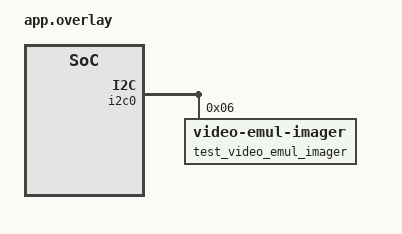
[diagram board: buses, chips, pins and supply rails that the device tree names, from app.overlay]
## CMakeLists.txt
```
# SPDX-License-Identifier: Apache-2.0

cmake_minimum_required(VERSION 3.20.0)
find_package(Zephyr REQUIRED HINTS $ENV{ZEPHYR_BASE})
project(integration)

target_sources(app PRIVATE src/video_common.c)
```

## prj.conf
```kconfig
CONFIG_ZTEST=y
CONFIG_ASSERT=y
CONFIG_VIDEO=y

# Just enough for a single frame in RGB565 format: 320 * 420 * 2 + some margin
CONFIG_VIDEO_BUFFER_POOL_HEAP_SIZE=300000
CONFIG_VIDEO_BUFFER_POOL_NUM_MAX=1

# Required to support larger buffers on native_sim
CONFIG_SYS_HEAP_BIG_ONLY=y

CONFIG_VIDEO_LOG_LEVEL_DBG=y
CONFIG_EMUL=y
CONFIG_I2C=y
```

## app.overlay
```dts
/*
 * Copyright (c) 2024-2025 tinyVision.ai Inc.
 * SPDX-License-Identifier: Apache-2.0
 */

/ {
	test {
		#address-cells = <1>;
		#size-cells = <1>;

		test_video_emul_rx: video_emul_rx@10003000 {
			compatible = "zephyr,video-emul-rx";
			reg = <0x10003000 0x1000>;

			port {
				#address-cells = <1>;
				#size-cells = <0>;

				test_video_emul_rx_ep_in: endpoint@0 {
					reg = <0x0>;
					remote-endpoint-label = "test_video_emul_imager_ep_out";
				};

				test_video_emul_rx_ep_out: endpoint@1 {
					reg = <0x1>;
					remote-endpoint-label = "application";
				};
			};
		};
	};
};

&i2c0 {
	status = "okay";

	test_video_emul_imager: video_emul_imager@6 {
		compatible = "zephyr,video-emul-imager";
		reg = <0x6>;

		port {
			test_video_emul_imager_ep_out: endpoint {
				remote-endpoint-label = "test_video_emul_rx_ep_in";
			};
		};
	};
};
```

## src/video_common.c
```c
/*
 * Copyright (c) 2024 tinyVision.ai Inc.
 *
 * SPDX-License-Identifier: Apache-2.0
 */

#include <zephyr/ztest.h>
#include <zephyr/drivers/video.h>

enum {
	RGB565,
	YUYV_A,
	YUYV_B,
};

static const struct video_format_cap fmts[] = {
	[RGB565] = {.pixelformat = VIDEO_PIX_FMT_RGB565,
		    .width_min  = 1280, .width_max  = 1280, .width_step  = 50,
		    .height_min = 720,  .height_max = 720,  .height_step = 50},
	[YUYV_A] = {.pixelformat = VIDEO_PIX_FMT_YUYV,
		    .width_min  = 100,  .width_max  = 1000, .width_step  = 50,
		    .height_min = 100,  .height_max = 1000, .height_step = 50},
	[YUYV_B] = {.pixelformat = VIDEO_PIX_FMT_YUYV,
		    .width_min  = 1920, .width_max  = 1920, .width_step  = 0,
		    .height_min = 1080, .height_max = 1080, .height_step = 0},
	{0},
};

ZTEST(video_common, test_video_format_caps_index)
{
	struct video_format fmt = {0};
	size_t idx;
	int ret;

	fmt.pixelformat = VIDEO_PIX_FMT_YUYV;

	fmt.width = 100;
	fmt.height = 100;
	ret = video_format_caps_index(fmts, &fmt, &idx);
	zassert_ok(ret, "expecting minimum value to match");
	zassert_equal(idx, YUYV_A);

	fmt.width = 1000;
	fmt.height = 1000;
	ret = video_format_caps_index(fmts, &fmt, &idx);
	zassert_ok(ret, "expecting maximum value to match");
	zassert_equal(idx, YUYV_A);

	fmt.width = 1920;
	fmt.height = 1080;
	ret = video_format_caps_index(fmts, &fmt, &idx);
	zassert_ok(ret, "expecting exact match to work");
	zassert_equal(idx, YUYV_B);

	fmt.width = 1001;
	fmt.height = 1000;
	ret = video_format_caps_index(fmts, &fmt, &idx);
	zassert_not_ok(ret, "expecting 1 above maximum width to mismatch");

	fmt.width = 1000;
	fmt.height = 1001;
	ret = video_format_caps_index(fmts, &fmt, &idx);
	zassert_not_ok(ret, "expecting 1 above maximum height to mismatch");

	fmt.width = 1280;
	fmt.height = 720;
	ret = video_format_caps_index(fmts, &fmt, &idx);
	zassert_not_ok(ret);
	zassert_not_ok(ret, "expecting wrong format to mismatch");

	fmt.pixelformat = VIDEO_PIX_FMT_RGB565;

	fmt.width = 1000;
	fmt.height = 1000;
	ret = video_format_caps_index(fmts, &fmt, &idx);
	zassert_not_ok(ret, "expecting wrong format to mismatch");

	fmt.width = 1280;
	fmt.height = 720;
	ret = video_format_caps_index(fmts, &fmt, &idx);
	zassert_ok(ret, "expecting exact match to work");
	zassert_equal(idx, RGB565);
}

ZTEST(video_common, test_video_frmival_nsec)
{
	zassert_equal(
		video_frmival_nsec(&(struct video_frmival){.numerator = 1, .denominator = 15}),
		66666666);

	zassert_equal(
		video_frmival_nsec(&(struct video_frmival){.numerator = 1, .denominator = 30}),
		33333333);

	zassert_equal(
		video_frmival_nsec(&(struct video_frmival){.numerator = 5, .denominator = 1}),
		5000000000);

	zassert_equal(
		video_frmival_nsec(&(struct video_frmival){.numerator = 1, .denominator = 1750000}),
		571);
}

ZTEST(video_common, test_video_closest_frmival_stepwise)
{
	struct video_frmival_stepwise stepwise;
	struct video_frmival desired;
	struct video_frmival expected;
	struct video_frmival match;
	int ret;

	stepwise.min.numerator = 1;
	stepwise.min.denominator = 30;
	stepwise.max.numerator = 30;
	stepwise.max.denominator = 30;
	stepwise.step.numerator = 1;
	stepwise.step.denominator = 30;

	desired.numerator = 1;
	desired.denominator = 1;
	ret = video_closest_frmival_stepwise(&stepwise, &desired, &match);
	zassert_ok(ret, "expecting video_closest_frmival_stepwise to work");
	zassert_equal(video_frmival_nsec(&match), video_frmival_nsec(&desired), "1 / 1");

	desired.numerator = 3;
	desired.denominator = 30;
	ret = video_closest_frmival_stepwise(&stepwise, &desired, &match);
	zassert_ok(ret, "expecting video_closest_frmival_stepwise to work");
	zassert_equal(video_frmival_nsec(&match), video_frmival_nsec(&desired), "3 / 30");

	desired.numerator = 7;
	desired.denominator = 80;
	expected.numerator = 3;
	expected.denominator = 30;
	ret = video_closest_frmival_stepwise(&stepwise, &desired, &match);
	zassert_ok(ret, "expecting video_closest_frmival_stepwise to work");
	zassert_equal(video_frmival_nsec(&match), video_frmival_nsec(&expected), "7 / 80");

	desired.numerator = 1;
	desired.denominator = 120;
	ret = video_closest_frmival_stepwise(&stepwise, &desired, &match);
	zassert_ok(ret, "expecting video_closest_frmival_stepwise to work");
	zassert_equal(video_frmival_nsec(&match), video_frmival_nsec(&stepwise.min), "1 / 120");

	desired.numerator = 100;
	desired.denominator = 1;
	ret = video_closest_frmival_stepwise(&stepwise, &desired, &match);
	zassert_ok(ret, "expecting video_closest_frmival_stepwise to work");
	zassert_equal(video_frmival_nsec(&match), video_frmival_nsec(&stepwise.max), "100 / 1");
}

ZTEST_SUITE(video_common, NULL, NULL, NULL, NULL, NULL);
```

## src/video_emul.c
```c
/*
 * Copyright (c) 2024 tinyVision.ai Inc.
 *
 * SPDX-License-Identifier: Apache-2.0
 */

#include <zephyr/ztest.h>
#include <zephyr/drivers/video.h>
#include <zephyr/drivers/video-controls.h>

const struct device *rx_dev = DEVICE_DT_GET(DT_NODELABEL(test_video_emul_rx));
const struct device *imager_dev = DEVICE_DT_GET(DT_NODELABEL(test_video_emul_imager));

ZTEST(video_common, test_video_device)
{
	zexpect_true(device_is_ready(rx_dev));
	zexpect_true(device_is_ready(imager_dev));

	zexpect_ok(video_stream_start(imager_dev, VIDEO_BUF_TYPE_OUTPUT));
	zexpect_ok(video_stream_stop(imager_dev, VIDEO_BUF_TYPE_OUTPUT));

	zexpect_ok(video_stream_start(rx_dev, VIDEO_BUF_TYPE_OUTPUT));
	zexpect_ok(video_stream_stop(rx_dev, VIDEO_BUF_TYPE_OUTPUT));
}

ZTEST(video_common, test_video_format)
{
	struct video_caps caps = {.type = VIDEO_BUF_TYPE_OUTPUT};
	struct video_format fmt = {0};

	zexpect_ok(video_get_caps(imager_dev, &caps));

	/* Test all the formats listed in the caps, the min and max values */
	for (size_t i = 0; caps.format_caps[i].pixelformat != 0; i++) {
		fmt.pixelformat = caps.format_caps[i].pixelformat;

		fmt.height = caps.format_caps[i].height_min;
		fmt.width = caps.format_caps[i].width_min;
		zexpect_ok(video_set_format(imager_dev, &fmt));
		zexpect_ok(video_get_format(imager_dev, &fmt));
		zexpect_equal(fmt.pixelformat, caps.format_caps[i].pixelformat);
		zexpect_equal(fmt.width, caps.format_caps[i].width_min);
		zexpect_equal(fmt.height, caps.format_caps[i].height_min);

		fmt.height = caps.format_caps[i].height_max;
		fmt.width = caps.format_caps[i].width_min;
		zexpect_ok(video_set_format(imager_dev, &fmt));
		zexpect_ok(video_get_format(imager_dev, &fmt));
		zexpect_equal(fmt.pixelformat, caps.format_caps[i].pixelformat);
		zexpect_equal(fmt.width, caps.format_caps[i].width_max);
		zexpect_equal(fmt.height, caps.format_caps[i].height_min);

		fmt.height = caps.format_caps[i].height_min;
		fmt.width = caps.format_caps[i].width_max;
		zexpect_ok(video_set_format(imager_dev, &fmt));
		zexpect_ok(video_get_format(imager_dev, &fmt));
		zexpect_equal(fmt.pixelformat, caps.format_caps[i].pixelformat);
		zexpect_equal(fmt.width, caps.format_caps[i].width_min);
		zexpect_equal(fmt.height, caps.format_caps[i].height_max);

		fmt.height = caps.format_caps[i].height_max;
		fmt.width = caps.format_caps[i].width_max;
		zexpect_ok(video_set_format(imager_dev, &fmt));
		zexpect_ok(video_get_format(imager_dev, &fmt));
		zexpect_equal(fmt.pixelformat, caps.format_caps[i].pixelformat);
		zexpect_equal(fmt.width, caps.format_caps[i].width_max);
		zexpect_equal(fmt.height, caps.format_caps[i].height_max);
	}

	fmt.pixelformat = 0x00000000;
	zexpect_not_ok(video_set_format(imager_dev, &fmt));
	zexpect_ok(video_get_format(imager_dev, &fmt));
	zexpect_not_equal(fmt.pixelformat, 0x00000000, "should not store wrong formats");
}

ZTEST(video_common, test_video_frmival)
{
	struct video_format fmt;
	struct video_frmival_enum fie = {.format = &fmt};

	/* Pick the current format for testing the frame interval enumeration */
	zexpect_ok(video_get_format(imager_dev, &fmt));

	/* Do a first enumeration of frame intervals, expected to work */
	zexpect_ok(video_enum_frmival(imager_dev, &fie));
	zexpect_equal(fie.index, 0, "fie's index should not increment on its own");

	/* Test that every value of the frame interval enumerator can be applied */
	for (fie.index = 0; video_enum_frmival(imager_dev, &fie) == 0; fie.index++) {
		struct video_frmival q, a;
		uint32_t min, max, step;

		zexpect_equal_ptr(fie.format, &fmt, "the format should not be changed");
		zexpect_true(fie.type == VIDEO_FRMIVAL_TYPE_STEPWISE ||
			     fie.type == VIDEO_FRMIVAL_TYPE_DISCRETE);

		switch (fie.type) {
		case VIDEO_FRMIVAL_TYPE_STEPWISE:
			/* Get everything under the same denominator */
			q.denominator = fie.stepwise.min.denominator *
					fie.stepwise.max.denominator *
					fie.stepwise.step.denominator;
			min = fie.stepwise.max.denominator * fie.stepwise.step.denominator *
			      fie.stepwise.min.numerator;
			max = fie.stepwise.min.denominator * fie.stepwise.step.denominator *
			      fie.stepwise.max.numerator;
			step = fie.stepwise.min.denominator * fie.stepwise.max.denominator *
			       fie.stepwise.step.numerator;

			/* Test every supported frame interval */
			for (q.numerator = min; q.numerator <= max; q.numerator += step) {
				zexpect_ok(video_set_frmival(imager_dev, &q));
				zexpect_ok(video_get_frmival(imager_dev, &a));
				zexpect_equal(video_frmival_nsec(&q), video_frmival_nsec(&a),
					      "query %u/%u (%u nsec) answer %u/%u (%u nsec, sw)",
					      q.numerator, q.denominator, video_frmival_nsec(&q),
					      a.numerator, a.denominator, video_frmival_nsec(&a));
			}
			break;
		case VIDEO_FRMIVAL_TYPE_DISCRETE:
			/* There is just one frame interval to test */
			memcpy(&q, &fie.discrete, sizeof(q));
			zexpect_ok(video_set_frmival(imager_dev, &q));
			zexpect_ok(video_get_frmival(imager_dev, &a));

			zexpect_equal(video_frmival_nsec(&fie.discrete), video_frmival_nsec(&a),
				      "query %u/%u (%u nsec) answer %u/%u (%u nsec, discrete)",
				      q.numerator, q.denominator, video_frmival_nsec(&q),
				      a.numerator, a.denominator, video_frmival_nsec(&a));
			break;
		}
	}
}

ZTEST(video_common, test_video_ctrl)
{
	struct video_control ctrl = {.id = VIDEO_CID_PRIVATE_BASE + 0x01, .val = 30};

	/* Emulated vendor specific control, expected to be supported by all imagers */
	zexpect_ok(video_set_ctrl(imager_dev, &ctrl));
	ctrl.val = 0;
	zexpect_ok(video_get_ctrl(imager_dev, &ctrl));
	zexpect_equal(ctrl.val, 30);
}

ZTEST(video_common, test_video_vbuf)
{
	struct video_caps caps;
	struct video_format fmt;
	struct video_buffer *vbuf = NULL;
	enum video_buf_type type = VIDEO_BUF_TYPE_OUTPUT;

	/* Get a list of supported format */
	caps.type = type;
	zexpect_ok(video_get_caps(rx_dev, &caps));

	/* Pick set first format, just to use something supported */
	fmt.pixelformat = caps.format_caps[0].pixelformat;
	fmt.width = caps.format_caps[0].width_max;
	fmt.height = caps.format_caps[0].height_max;
	fmt.type = type;
	zexpect_ok(video_set_format(rx_dev, &fmt));

	/* Allocate a buffer, assuming prj.conf gives enough memory for it */
	vbuf = video_buffer_alloc(fmt.pitch * fmt.height, K_NO_WAIT);
	zexpect_not_null(vbuf);

	/* Start the virtual hardware */
	zexpect_ok(video_stream_start(rx_dev, type));

	vbuf->type = type;

	/* Enqueue a first buffer */
	zexpect_ok(video_enqueue(rx_dev, vbuf));

	/* Receive the completed buffer */
	zexpect_ok(video_dequeue(rx_dev, &vbuf, K_FOREVER));
	zexpect_not_null(vbuf);
	zexpect_equal(vbuf->bytesused, vbuf->size);

	/* Enqueue back the same buffer */
	zexpect_ok(video_enqueue(rx_dev, vbuf));

	/* Process the remaining buffers */
	zexpect_ok(video_flush(rx_dev, false));

	/* Expect the buffer to immediately be available */
	zexpect_ok(video_dequeue(rx_dev, &vbuf, K_FOREVER));
	zexpect_not_null(vbuf);
	zexpect_equal(vbuf->bytesused, vbuf->size);

	/* Nothing left in the queue, possible to stop */
	zexpect_ok(video_stream_stop(rx_dev, type));

	/* Nothing tested, but this should not crash */
	video_buffer_release(vbuf);
}

ZTEST_SUITE(video_emul, NULL, NULL, NULL, NULL, NULL);
```

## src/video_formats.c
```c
/*
 * SPDX-FileCopyrightText: Copyright The Zephyr Project Contributors
 * SPDX-License-Identifier: Apache-2.0
 */

#include <zephyr/ztest.h>
#include <zephyr/drivers/video.h>

ZTEST(video_formats, test_video_formats)
{
	zassert(VIDEO_FMT_IS_GRAYSCALE(VIDEO_PIX_FMT_GREY), "is GRAYSCALE");
	zassert(VIDEO_FMT_IS_GRAYSCALE(VIDEO_PIX_FMT_Y14), "is GRAYSCALE");
	zassert(VIDEO_FMT_IS_GRAYSCALE(VIDEO_PIX_FMT_Y14P), "is GRAYSCALE");
	zassert(!VIDEO_FMT_IS_GRAYSCALE(VIDEO_PIX_FMT_RGB24), "is not GRAYSCALE");

	zassert(VIDEO_FMT_IS_BAYER(VIDEO_PIX_FMT_SRGGB8), "is BAYER");
	zassert(VIDEO_FMT_IS_BAYER(VIDEO_PIX_FMT_SBGGR8P16), "is BAYER");
	zassert(VIDEO_FMT_IS_BAYER(VIDEO_PIX_FMT_SGRBG12P), "is BAYER");
	zassert(!VIDEO_FMT_IS_BAYER(VIDEO_PIX_FMT_NV12), "is not BAYER");

	zassert(VIDEO_FMT_IS_RGB(VIDEO_PIX_FMT_RGB24), "is RGB");
	zassert(VIDEO_FMT_IS_RGB(VIDEO_PIX_FMT_ABGR32), "is RGB");
	zassert(VIDEO_FMT_IS_RGB(VIDEO_PIX_FMT_RGB565), "is RGB");
	zassert(!VIDEO_FMT_IS_RGB(VIDEO_PIX_FMT_XYUV32), "is not RGB");

	zassert(VIDEO_FMT_IS_YUV(VIDEO_PIX_FMT_YUYV), "is YUV");
	zassert(VIDEO_FMT_IS_YUV(VIDEO_PIX_FMT_NV42), "is YUV");
	zassert(VIDEO_FMT_IS_YUV(VIDEO_PIX_FMT_YUV420), "is YUV");
	zassert(!VIDEO_FMT_IS_YUV(VIDEO_PIX_FMT_BGRA32), "is not YUV");

	zassert(VIDEO_FMT_IS_MIPI_PACKED(VIDEO_PIX_FMT_Y12P), "is MIPI_PACKED");
	zassert(VIDEO_FMT_IS_MIPI_PACKED(VIDEO_PIX_FMT_SBGGR12P), "is MIPI_PACKED");
	zassert(VIDEO_FMT_IS_MIPI_PACKED(VIDEO_PIX_FMT_SGBRG10P), "is MIPI_PACKED");
	zassert(!VIDEO_FMT_IS_MIPI_PACKED(VIDEO_PIX_FMT_Y12), "is not MIPI_PACKED");

	zassert(VIDEO_FMT_IS_PADDED(VIDEO_PIX_FMT_Y8P16), "is PADDED");
	zassert(VIDEO_FMT_IS_PADDED(VIDEO_PIX_FMT_SRGGB8P16), "is PADDED");
	zassert(!VIDEO_FMT_IS_PADDED(VIDEO_PIX_FMT_GREY), "is not PADDED");

	zassert(VIDEO_FMT_IS_SEMI_PLANAR(VIDEO_PIX_FMT_NV61), "is SEMI_PLANAR");
	zassert(VIDEO_FMT_IS_SEMI_PLANAR(VIDEO_PIX_FMT_NV16), "is SEMI_PLANAR");
	zassert(VIDEO_FMT_IS_SEMI_PLANAR(VIDEO_PIX_FMT_NV12), "is SEMI_PLANAR");
	zassert(!VIDEO_FMT_IS_SEMI_PLANAR(VIDEO_PIX_FMT_YUV420), "is not SEMI_PLANAR");

	zassert(VIDEO_FMT_IS_FULL_PLANAR(VIDEO_PIX_FMT_YUV420), "is FULLY_PLANAR");
	zassert(VIDEO_FMT_IS_FULL_PLANAR(VIDEO_PIX_FMT_YVU420), "is FULLY_PLANAR");
	zassert(!VIDEO_FMT_IS_FULL_PLANAR(VIDEO_PIX_FMT_NV12), "is not FULLY_PLANAR");
}

ZTEST_SUITE(video_formats, NULL, NULL, NULL, NULL, NULL);
```
